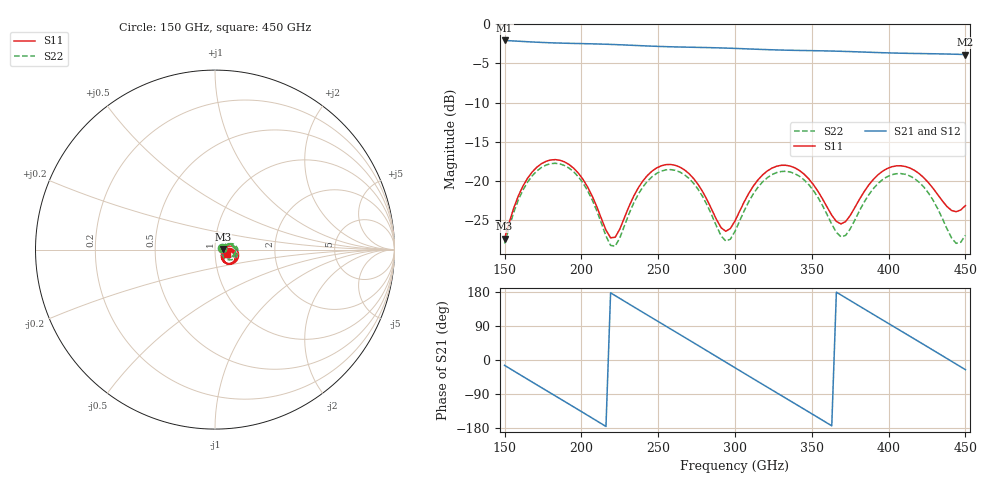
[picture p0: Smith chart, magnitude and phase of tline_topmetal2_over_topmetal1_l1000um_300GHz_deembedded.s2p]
! Created with skrf 2.0.1 (http://scikit-rf.org).
# GHz S DB R 50.0
!freq dBS11 angS11 dBS21 angS21 dBS12 angS12 dBS22 angS22
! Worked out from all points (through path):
!   101 points, 150 GHz to 450 GHz, reference 50 ohm
!   highest |S21| = -2.07 dB at 150 GHz (marker M1); lowest = -3.9 dB at 450 GHz (marker M2)
!   group delay of S21, straight-line fit = 6.77 ps
!   lowest |S11| = -27.3 dB at 150 GHz (marker M3), VSWR 1.09, Z = 54.5 + j0.381 ohm
!   |S11| at or under -10 dB: start of sweep to end of sweep
!   |S22| runs from -28.3 to -17.7 dB; largest |S21 - S12| = 8.7e-14
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150  -27.35 4.7  -2.07 -14.2  -2.07 -14.2  -27.97 15.3
162  -20.63 11.8  -2.20 -43.6  -2.20 -43.6  -21.14 23.8
177  -17.49 -11.2  -2.34 -80.1  -2.34 -80.1  -17.96 1.7
189  -17.56 -32.2  -2.42 -109.3  -2.42 -109.3  -18.03 -18.6
201  -19.78 -50.0  -2.48 -138.6  -2.48 -138.6  -20.25 -36.2
222  -27.18 -16.5  -2.60 169.9  -2.60 169.9  -28.32 -1.8
237  -20.88 3.0  -2.72 133.1  -2.72 133.1  -21.70 21.5
252  -18.06 -16.9  -2.84 96.7  -2.84 96.7  -18.74 2.3
264  -18.22 -35.8  -2.91 67.5  -2.91 67.5  -18.85 -16.4
279  -21.38 -52.9  -2.97 31.0  -2.97 31.0  -22.01 -33.9
294  -26.42 -27.8  -3.04 -5.8  -3.04 -5.8  -27.67 -9.1
300  -25.09 -7.7  -3.08 -20.5  -3.08 -20.5  -26.42 14.0
315  -19.85 -5.5  -3.20 -57.0  -3.20 -57.0  -20.78 18.4
327  -18.12 -21.1  -3.28 -86.1  -3.28 -86.1  -18.93 2.8
351  -20.45 -51.8  -3.37 -144.4  -3.37 -144.4  -21.20 -29.4
369  -25.47 -30.3  -3.45 171.6  -3.45 171.6  -27.12 -8.6
387  -20.53 -8.1  -3.57 127.7  -3.57 127.7  -21.78 19.0
402  -18.19 -24.1  -3.67 91.3  -3.67 91.3  -19.21 1.7
414  -18.35 -39.6  -3.72 62.3  -3.72 62.3  -19.37 -15.9
429  -20.95 -51.3  -3.77 25.8  -3.77 25.8  -22.47 -32.5
444  -23.92 -32.5  -3.83 -10.8  -3.83 -10.8  -27.95 -9.2
450  -23.14 -20.5  -3.87 -25.5  -3.87 -25.5  -26.93 13.4
